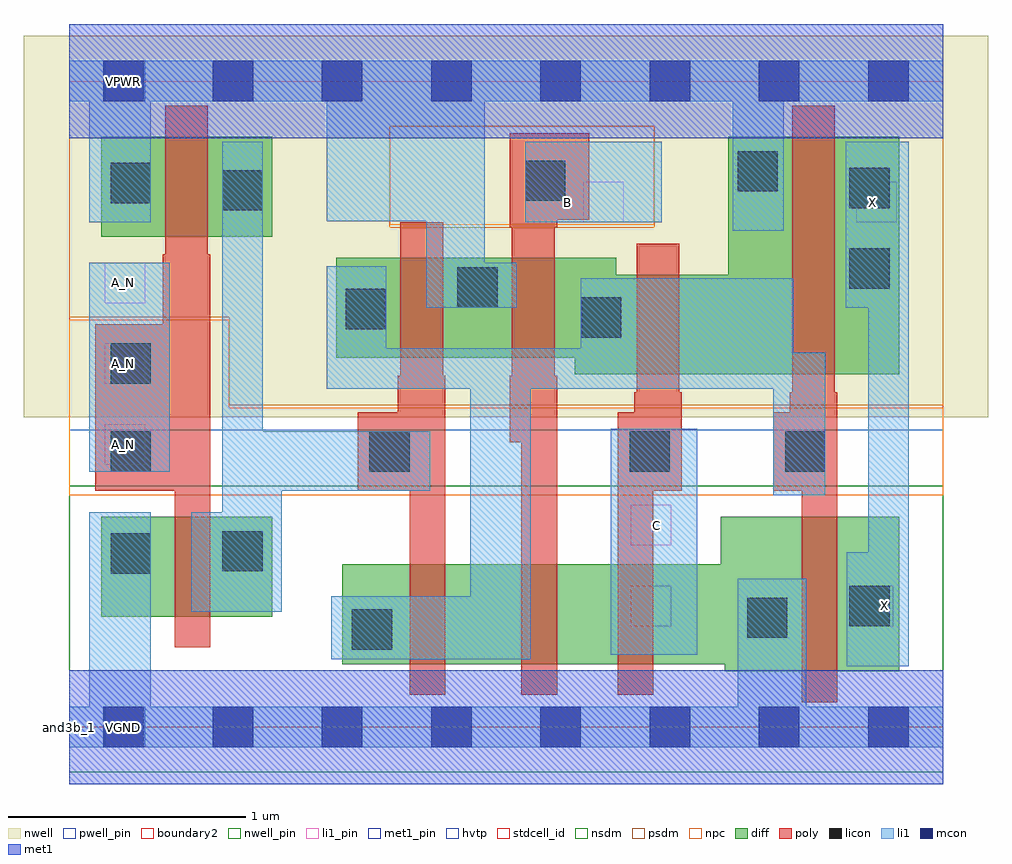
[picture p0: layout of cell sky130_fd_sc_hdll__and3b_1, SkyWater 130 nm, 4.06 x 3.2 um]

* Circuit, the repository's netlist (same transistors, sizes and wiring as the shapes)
* Copyright 2020 The SkyWater PDK Authors
*
* Licensed under the Apache License, Version 2.0 (the "License");
* you may not use this file except in compliance with the License.
* You may obtain a copy of the License at
*
*     https://www.apache.org/licenses/LICENSE-2.0
*
* Unless required by applicable law or agreed to in writing, software
* distributed under the License is distributed on an "AS IS" BASIS,
* WITHOUT WARRANTIES OR CONDITIONS OF ANY KIND, either express or implied.
* See the License for the specific language governing permissions and
* limitations under the License.
*
* SPDX-License-Identifier: Apache-2.0

.SUBCKT sky130_fd_sc_hdll__and3b_1 A_N B C VGND VNB VPB VPWR X
*.PININFO A_N:I B:I C:I VGND:I VNB:I VPB:I VPWR:I X:O
MMP0 y A VPWR VPB sky130_fd_pr__pfet_01v8_hvt m=1 w=0.42U l=0.18U mult=1 sa=0.265
+ sb=0.265 sd=0.28 area=0.063 perim=1.14
MMP1 y B VPWR VPB sky130_fd_pr__pfet_01v8_hvt m=1 w=0.42U l=0.18U mult=1 sa=0.265
+ sb=0.265 sd=0.28 area=0.063 perim=1.14
MMP2 y C VPWR VPB sky130_fd_pr__pfet_01v8_hvt m=1 w=0.42U l=0.18U mult=1 sa=0.265
+ sb=0.265 sd=0.28 area=0.063 perim=1.14
MMIP0 A A_N VPWR VPB sky130_fd_pr__pfet_01v8_hvt m=1 w=0.42U l=0.18U mult=1 sa=0.265
+ sb=0.265 sd=0.28 area=0.063 perim=1.14
MMIP1 X y VPWR VPB sky130_fd_pr__pfet_01v8_hvt m=1 w=1.0U l=0.18U mult=1 sa=0.265
+ sb=0.265 sd=0.28 area=0.063 perim=1.14
MMN0 y A sndA VNB sky130_fd_pr__nfet_01v8 m=1 w=0.42U l=0.15U mult=1 sa=0.265 sb=0.265
+ sd=0.28 area=0.063 perim=1.14
MMN1 sndA B sndB VNB sky130_fd_pr__nfet_01v8 m=1 w=0.42U l=0.15U mult=1 sa=0.265
+ sb=0.265 sd=0.28 area=0.063 perim=1.14
MMN2 sndB C VGND VNB sky130_fd_pr__nfet_01v8 m=1 w=0.42U l=0.15U mult=1 sa=0.265
+ sb=0.265 sd=0.28 area=0.063 perim=1.14
MMIN0 A A_N VGND VNB sky130_fd_pr__nfet_01v8 m=1 w=0.42U l=0.15U mult=1 sa=0.265
+ sb=0.265 sd=0.28 area=0.063 perim=1.14
MMIN1 X y VGND VNB sky130_fd_pr__nfet_01v8 m=1 w=0.65U l=0.15U mult=1 sa=0.265
+ sb=0.265 sd=0.28 area=0.063 perim=1.14
.ENDS sky130_fd_sc_hdll__and3b_1

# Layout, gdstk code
import gdstk
lib = gdstk.Library(unit=1e-6, precision=1e-09)
def R(c, l, rs):  # rectangles x0, y0, x1, y1
    for r in rs: c.add(gdstk.rectangle(r[:2], r[2:], *l))
def A(c, l, x, y, w, h, nx, ny, dx, dy):  # array of equal rectangles
    R(c, l, [(x+i*dx, y+j*dy, x+i*dx+w, y+j*dy+h) for i in range(nx) for j in range(ny)])
def P(c, l, *ps):  # polygons
    for p in ps: c.add(gdstk.Polygon(p, *l))
nwell_pin = (64, 16)
nwell = (64, 20)
diff = (65, 20)
poly = (66, 20)
licon = (66, 44)
li1_pin = (67, 16)
li1 = (67, 20)
mcon = (67, 44)
met1_pin = (68, 16)
met1 = (68, 20)
hvtp = (78, 44)
stdcell_id = (81, 4)
nsdm = (93, 44)
psdm = (94, 20)
npc = (95, 20)
pwell_pin = (122, 16)
boundary2 = (236, 0)

sky130_fd_sc_hdll__and3b = lib.new_cell('sky130_fd_sc_hdll__and3b_1')
R(sky130_fd_sc_hdll__and3b, nwell_pin, [(0.15,2.635,0.32,2.805)])
R(sky130_fd_sc_hdll__and3b, nwell, [(-0.19,1.305,3.87,2.91)])
R(sky130_fd_sc_hdll__and3b, diff, [(0.135,0.465,0.855,0.885), (0.135,2.065,0.855,2.485)])
P(sky130_fd_sc_hdll__and3b, diff, [(3.495,0.885),(2.745,0.885),(2.745,0.685),(1.15,0.685),(1.15,0.265),(2.76,0.265),(2.76,0.235),(3.495,0.235)],
  [(3.495,2.485),(2.775,2.485),(2.775,1.905),(2.305,1.905),(2.305,1.975),(1.125,1.975),(1.125,1.555),(2.13,1.555),(2.13,1.485),(3.495,1.485)])
P(sky130_fd_sc_hdll__and3b, poly, [(0.595,1.99),(0.585,1.99),(0.585,2.615),(0.405,2.615),(0.405,1.99),(0.395,1.99),(0.395,1.695),(0.11,1.695),(0.11,0.995),(0.445,0.995),(0.445,0.335),(0.595,0.335)],
  [(1.585,1.48),(1.575,1.48),(1.575,2.125),(1.395,2.125),(1.395,1.48),(1.385,1.48),(1.385,1.325),(1.215,1.325),(1.215,0.995),(1.435,0.995),(1.435,0.135),(1.585,0.135)],
  [(2.19,2.5),(1.855,2.5),(1.855,2.105),(1.865,2.105),(1.865,1.48),(1.855,1.48),(1.855,1.2),(1.905,1.2),(1.905,0.135),(2.055,0.135),(2.055,1.48),(2.045,1.48),(2.045,2.105),(2.055,2.105),(2.055,2.135),(2.19,2.135)],
  [(2.58,1.41),(2.57,1.41),(2.57,2.035),(2.39,2.035),(2.39,1.41),(2.38,1.41),(2.38,1.325),(2.31,1.325),(2.31,0.135),(2.46,0.135),(2.46,0.995),(2.58,0.995)],
  [(3.235,1.41),(3.225,1.41),(3.225,2.615),(3.045,2.615),(3.045,1.41),(3.035,1.41),(3.035,1.325),(2.965,1.325),(2.965,0.995),(3.085,0.995),(3.085,0.105),(3.235,0.105)])
R(sky130_fd_sc_hdll__and3b, licon, [(1.19,0.325,1.36,0.495), (2.855,0.375,3.025,0.545), (3.285,0.425,3.455,0.595), (0.175,0.645,0.345,0.815), (0.645,0.655,0.815,0.825), (0.175,1.075,0.345,1.245), (1.265,1.075,1.435,1.245), (2.36,1.075,2.53,1.245), (3.015,1.075,3.185,1.245), (0.175,1.445,0.345,1.615), (2.155,1.64,2.325,1.81), (1.165,1.675,1.335,1.845), (1.635,1.765,1.805,1.935), (3.285,1.845,3.455,2.015), (0.645,2.175,0.815,2.345), (3.285,2.185,3.455,2.355), (0.175,2.205,0.345,2.375), (1.92,2.215,2.09,2.385), (2.815,2.255,2.985,2.425)])
A(sky130_fd_sc_hdll__and3b, li1_pin, 0.15, 1.105, 0.17, 0.17, 1, 3, 0, 0.34)
R(sky130_fd_sc_hdll__and3b, li1_pin, [(2.365,0.425,2.535,0.595), (3.3,0.425,3.47,0.595), (2.365,0.765,2.535,0.935), (2.165,2.125,2.335,2.295), (3.315,2.125,3.485,2.295)])
R(sky130_fd_sc_hdll__and3b, li1, [(2.28,0.305,2.645,1.255), (0.085,1.075,0.425,1.955), (1.92,2.125,2.495,2.465)])
P(sky130_fd_sc_hdll__and3b, li1, [(3.68,2.805),(0,2.805),(0,2.635),(0.085,2.635),(0.085,2.125),(0.345,2.125),(0.345,2.635),(1.085,2.635),(1.085,2.13),(1.505,2.13),(1.505,1.765),(1.885,1.765),(1.885,1.955),(1.75,1.955),(1.75,2.635),(2.795,2.635),(2.795,2.09),(3.01,2.09),(3.01,2.635),(3.68,2.635)],
  [(3.535,2.465),(3.27,2.465),(3.27,1.765),(3.365,1.765),(3.365,0.735),(3.275,0.735),(3.275,0.255),(3.535,0.255)],
  [(3.185,1.575),(3.05,1.575),(3.05,1.89),(2.155,1.89),(2.155,1.595),(1.335,1.595),(1.335,1.94),(1.085,1.94),(1.085,1.425),(1.69,1.425),(1.69,0.55),(1.105,0.55),(1.105,0.285),(1.945,0.285),(1.945,1.425),(2.965,1.425),(2.965,0.975),(3.185,0.975)],
  [(1.52,1.245),(0.815,1.245),(0.815,2.465),(0.645,2.465),(0.645,0.905),(0.515,0.905),(0.515,0.485),(0.895,0.485),(0.895,0.995),(1.52,0.995)],
  [(3.68,0.085),(3.105,0.085),(3.105,0.625),(2.815,0.625),(2.815,0.085),(0.345,0.085),(0.345,0.905),(0.085,0.905),(0.085,0.085),(0,0.085),(0,-0.085),(3.68,-0.085)])
A(sky130_fd_sc_hdll__and3b, mcon, 0.145, -0.085, 0.17, 0.17, 8, 2, 0.46, 2.72)
R(sky130_fd_sc_hdll__and3b, met1_pin, [(0.15,-0.085,0.32,0.085), (0.15,2.635,0.32,2.805)])
R(sky130_fd_sc_hdll__and3b, met1, [(0,-0.24,3.68,0.24), (0,2.48,3.68,2.96)])
R(sky130_fd_sc_hdll__and3b, hvtp, [(0,1.25,3.68,2.72)])
R(sky130_fd_sc_hdll__and3b, stdcell_id, [(0,0,3.68,2.72)])
R(sky130_fd_sc_hdll__and3b, nsdm, [(0,-0.19,3.68,1.015)])
P(sky130_fd_sc_hdll__and3b, psdm, [(3.68,2.91),(2.465,2.91),(2.465,2.105),(1.35,2.105),(1.35,2.53),(2.465,2.53),(2.465,2.91),(0,2.91),(0,1.725),(0.675,1.725),(0.675,1.355),(3.68,1.355)])
R(sky130_fd_sc_hdll__and3b, npc, [(1.35,2.115,2.465,2.53)])
P(sky130_fd_sc_hdll__and3b, npc, [(3.68,1.345),(0.675,1.345),(0.675,1.715),(0,1.715),(0,0.975),(3.68,0.975)])
R(sky130_fd_sc_hdll__and3b, pwell_pin, [(0.15,-0.085,0.32,0.085)])
R(sky130_fd_sc_hdll__and3b, boundary2, [(0,0,3.68,2.72)])
sky130_fd_sc_hdll__and3b.add(gdstk.Label('A_N', (0.23,1.53), layer=67, texttype=5))
sky130_fd_sc_hdll__and3b.add(gdstk.Label('B', (2.1,2.21), layer=67, texttype=5))
sky130_fd_sc_hdll__and3b.add(gdstk.Label('X', (3.385,2.21), layer=67, texttype=5))
sky130_fd_sc_hdll__and3b.add(gdstk.Label('C', (2.475,0.85), layer=67, texttype=5))
sky130_fd_sc_hdll__and3b.add(gdstk.Label('A_N', (0.23,1.19), layer=67, texttype=5))
sky130_fd_sc_hdll__and3b.add(gdstk.Label('X', (3.435,0.51), layer=67, texttype=5))
sky130_fd_sc_hdll__and3b.add(gdstk.Label('A_N', (0.23,1.87), layer=67, texttype=5))
sky130_fd_sc_hdll__and3b.add(gdstk.Label('VGND', (0.23,0), layer=68, texttype=5))
sky130_fd_sc_hdll__and3b.add(gdstk.Label('VPWR', (0.23,2.72), layer=68, texttype=5))
sky130_fd_sc_hdll__and3b.add(gdstk.Label('VPB', (0.235,2.72), layer=64, texttype=5))
sky130_fd_sc_hdll__and3b.add(gdstk.Label('VNB', (0.235,0), layer=64, texttype=59))
sky130_fd_sc_hdll__and3b.add(gdstk.Label('and3b_1', (0,0), layer=83, texttype=44))

lib.write_gds('sky130_fd_sc_hdll__and3b_1.gds')
